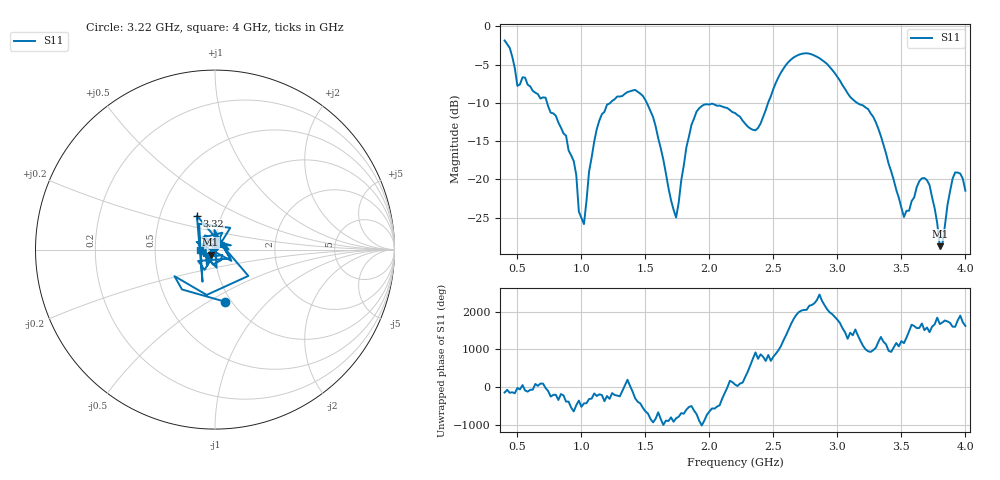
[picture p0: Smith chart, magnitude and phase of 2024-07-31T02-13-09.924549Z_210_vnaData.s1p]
!Created with skrf (http://scikit-rf.org).
# Hz S RI R 50.0
!freq ReS11 ImS11
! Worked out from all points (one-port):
!   181 points, 400 MHz to 4 GHz, reference 50 ohm
!   lowest |S11| = -28.7 dB at 3.8 GHz (marker M1), VSWR 1.08, Z = 47.6 - j2.61 ohm
!   |S11| at or under -10 dB: 732.4 MHz to 1.224 GHz (491.8 MHz wide, 50.3 % of centre); 1.511 GHz to 2.458 GHz (947.2 MHz wide, 47.7 % of centre); 3.155 GHz to end of sweep
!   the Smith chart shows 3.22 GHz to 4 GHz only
!   S11 on the Smith chart (normalised r, x): 3.22 GHz: 0.93, -0.59; 3.32 GHz: 0.76, +0.30; 4 GHz: 0.84, -0.00
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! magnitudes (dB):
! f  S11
! 400 MHz  -1.8
! 500 MHz  -7.8
! 720 MHz  -9.3
! 860 MHz  -14.0
! 940 MHz  -17.6
! 980 MHz  -24.2
! 1.02 GHz  -25.8
! 1.06 GHz  -18.9
! 1.12 GHz  -13.4
! 1.3 GHz  -9.2
! 1.5 GHz  -9.6
! 1.72 GHz  -24.0
! 1.76 GHz  -23.0
! 1.82 GHz  -15.8
! 1.9 GHz  -11.1
! 2.2 GHz  -11.3
! 2.38 GHz  -13.3
! 2.66 GHz  -4.0
! 2.86 GHz  -4.2
! 3.1 GHz  -9.2
! 3.22 GHz  -10.6
! 3.32 GHz  -13.4
! 3.52 GHz  -24.9
! 3.56 GHz  -24.1
! 3.7 GHz  -20.1
! 3.8 GHz  -28.7
! 3.92 GHz  -19.1
! 4 GHz  -21.5
